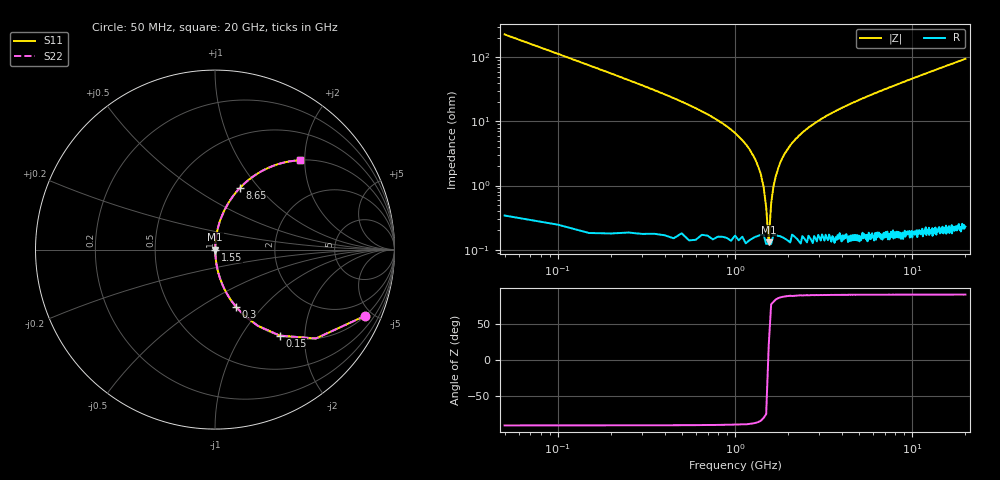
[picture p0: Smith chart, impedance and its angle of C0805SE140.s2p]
! AVX Thin Film Operation		Date: April 2012
! Description: Accu-P® Series, Thin Film, SMD, RF Capacitor
! Part Number: 08051K140FBTTR
!	50	MHz	-	20.05	GHz
!	Serial	Measurements
#	MHZ	S	MA	R	50
!	S11	S21	S12	S22
!	dB	Phase	dB	Phase	dB	Phase	dB	Phase
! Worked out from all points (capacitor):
!   400 points, 50 MHz to 20 GHz, reference 50 ohm
!   read as one part in series: C = 14 pF near 150 MHz
!   lowest |Z| = 131 mohm at 1.55 GHz (marker M1)
!   series resonance near 1.545 GHz, so ESL is about 760 pH
!   S11 on the Smith chart (normalised r, x): 50 MHz: 1.00, -4.54; 150 MHz: 1.00, -1.50; 300 MHz: 1.00, -0.73; 1.55 GHz: 1.00, +0.00; 8.65 GHz: 1.00, +0.80; 20 GHz: 1.00, +1.89
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50  0.915 -23.7  0.403 66.2  0.403 66.2  0.915 -23.7
100  0.749 -41.4  0.661 48.5  0.661 48.5  0.749 -41.4
150  0.6 -53.0  0.799 36.8  0.799 36.8  0.6 -53.0
300  0.342 -69.7  0.938 20.0  0.938 20.0  0.342 -69.7
650  0.142 -81.2  0.988 8.2  0.988 8.2  0.142 -81.2
1100  0.051 -85.4  0.997 2.9  0.997 2.9  0.051 -85.4
1300  0.026 -85.2  0.998 1.5  0.998 1.5  0.026 -85.2
1450  0.009476 -80.6  0.998 0.5  0.998 0.5  0.009476 -80.6
1500  0.004615 -71.2  0.999 0.3  0.999 0.3  0.004615 -71.2
1550  0.001532 16.8  0.999 -0.0  0.999 -0.0  0.001532 16.8
1600  0.005314 73.7  0.999 -0.3  0.999 -0.3  0.005314 73.7
1650  0.009745 80.8  0.998 -0.6  0.998 -0.6  0.009745 80.8
1800  0.023 85.0  0.998 -1.3  0.998 -1.3  0.023 85.0
1900  0.031 85.5  0.998 -1.8  0.998 -1.8  0.031 85.5
2400  0.067 84.9  0.996 -3.8  0.996 -3.8  0.067 84.9
3400  0.127 82.0  0.99 -7.3  0.99 -7.3  0.127 82.0
6700  0.289 72.9  0.956 -16.8  0.956 -16.8  0.289 72.9
8650  0.37 68.0  0.928 -21.7  0.928 -21.7  0.37 68.0
10050  0.423 64.8  0.905 -25.0  0.905 -25.0  0.423 64.8
13350  0.53 57.8  0.846 -32.0  0.846 -32.0  0.53 57.8
16700  0.618 51.7  0.784 -38.2  0.784 -38.2  0.618 51.7
20000  0.687 46.5  0.725 -43.4  0.725 -43.4  0.687 46.5
